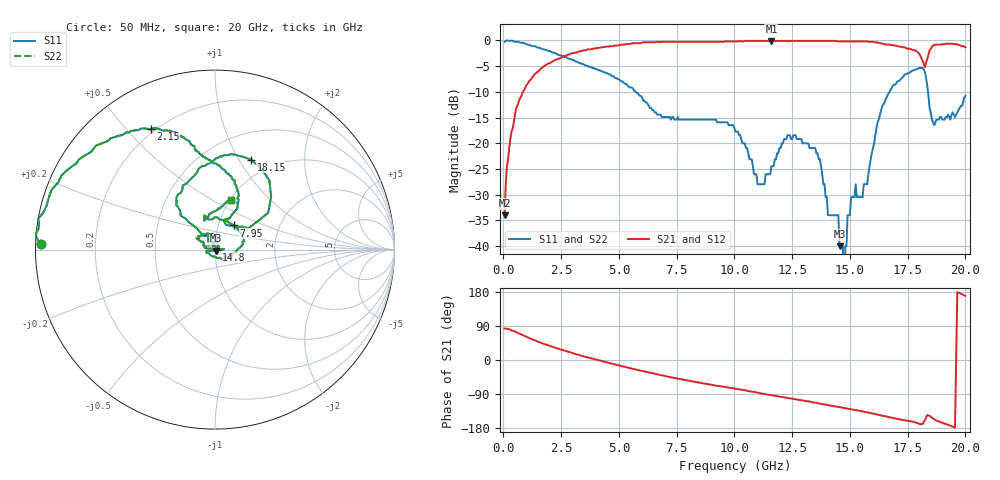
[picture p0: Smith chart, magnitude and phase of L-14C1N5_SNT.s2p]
#	mhz	s	ma	r	50
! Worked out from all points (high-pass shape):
!   400 points, 50 MHz to 20 GHz, reference 50 ohm
!   highest |S21| = -0.09 dB at 11.6 GHz (marker M1); lowest = -34.0 dB at 50 MHz (marker M2)
!   |S21| within 3 dB of the highest: 2.654 GHz to 18.06 GHz (15.41 GHz wide, 149 % of centre); 18.38 GHz to end of sweep
!   lowest |S11| = -40.0 dB at 14.55 GHz (marker M3), VSWR 1.02, Z = 50.8 - j0.654 ohm
!   |S11| at or under -10 dB: 5.719 GHz to 16.72 GHz (11 GHz wide, 98 % of centre); 18.38 GHz to end of sweep
!   |S22| runs from - to 0.0 dB; largest |S21 - S12| = 0
!   S11 on the Smith chart (normalised r, x): 50 MHz: 0.02, +0.02; 2.15 GHz: 0.18, +0.58; 7.95 GHz: 1.18, +0.33; 14.8 GHz: 1.02, -0.00; 18.15 GHz: 0.80, +1.13; 20 GHz: 1.01, +0.61
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50  0.97 178.2  0.02 82.8  0.02 82.8  0.97 178.2
550  0.97 162.9  0.22 73.6  0.22 73.6  0.97 162.9
2150  0.76 118.1  0.63 34.2  0.63 34.2  0.76 118.1
3400  0.59 101.9  0.79 10.8  0.79 10.8  0.59 101.9
6700  0.19 65.7  0.97 -38.4  0.97 -38.4  0.19 65.7
7950  0.17 52.2  0.97 -53.9  0.97 -53.9  0.17 52.2
10050  0.13 2.5  0.98 -75.7  0.98 -75.7  0.13 2.5
11000  0.04 -89.5  0.99 -86.3  0.99 -86.3  0.04 -89.5
11600  0.06 167.6  0.99 -93.0  0.99 -93.0  0.06 167.6
13350  0.09 111.1  0.99 -111.1  0.99 -111.1  0.09 111.1
14550  0.01 -40.1  0.98 -124.3  0.98 -124.3  0.01 -40.1
14700  0.01 -41.0  0.98 -126.1  0.98 -126.1  0.01 -41.0
14750  0 -61.5  0.98 -126.7  0.98 -126.7  0 -61.5
14800  0.01 -1.6  0.98 -127.3  0.98 -127.3  0.01 -1.6
15050  0.03 101.5  0.98 -130.3  0.98 -130.3  0.03 101.5
16700  0.31 131.1  0.91 -150.6  0.91 -150.6  0.31 131.1
18150  0.54 68.2  0.63 -168.6  0.63 -168.6  0.54 68.2
18650  0.15 66.1  0.9 -156.5  0.9 -156.5  0.15 66.1
19550  0.18 102.5  0.92 -178.2  0.92 -178.2  0.18 102.5
19600  0.19 100.9  0.92 0.4  0.92 0.4  0.19 100.9
19650  0.2 99.2  0.91 179.1  0.91 179.1  0.2 99.2
20000  0.29 72.0  0.86 169.3  0.86 169.3  0.29 72.0
